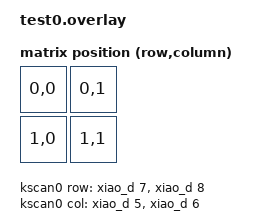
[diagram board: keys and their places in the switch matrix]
#include <dt-bindings/zmk/matrix_transform.h>

/ {
    chosen {
        zmk,physical-layout = &physical_layout0;
  };

    physical_layout0: physical_layout0 {
        compatible = "zmk,physical-layout";
        display-name = "Default Layout";
        kscan = <&kscan0>;
        transform = <&default_transform>;
    };

    default_transform: keymap_transform0 {
        compatible = "zmk,matrix-transform";
        rows = <2>;
        columns = <2>;
        map = <
            RC(0,0) RC(0,1)
            RC(1,0) RC(1,1)
        >;
    };


    kscan0: kscan0 {
        compatible = "zmk,kscan-gpio-matrix";
        diode-direction = "col2row";
        col-gpios
            = <&xiao_d 5 GPIO_ACTIVE_HIGH>
            , <&xiao_d 6 GPIO_ACTIVE_HIGH>
            ;
        row-gpios
            = <&xiao_d 7 (GPIO_ACTIVE_HIGH | GPIO_PULL_DOWN)>
            , <&xiao_d 8 (GPIO_ACTIVE_HIGH | GPIO_PULL_DOWN)>
            ;
    };
};
